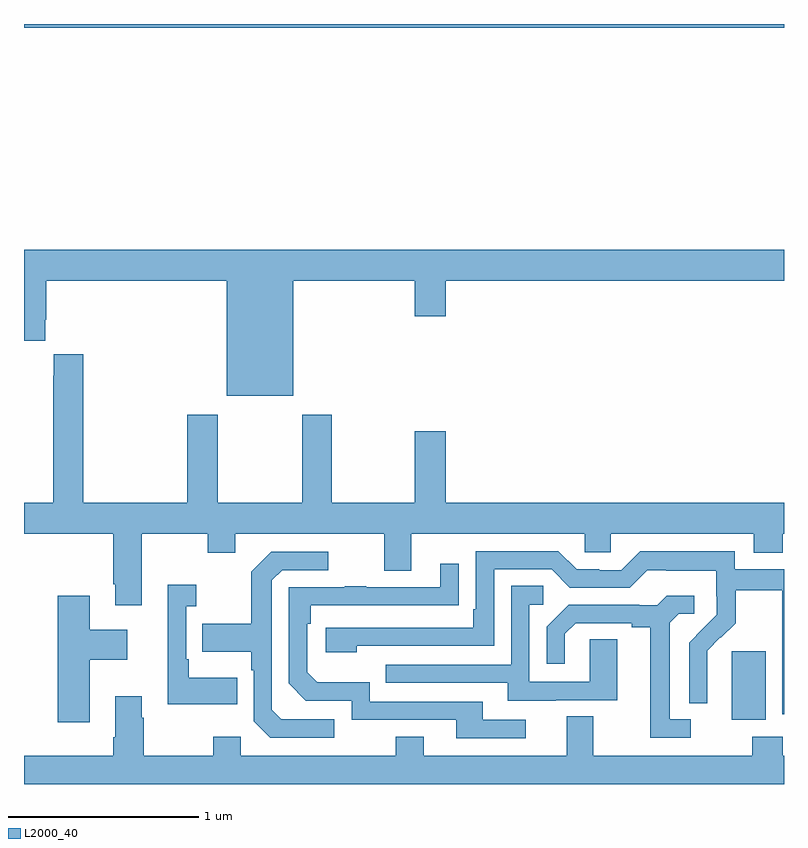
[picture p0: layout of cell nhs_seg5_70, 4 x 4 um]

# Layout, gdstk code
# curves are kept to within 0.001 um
import gdstk
lib = gdstk.Library(unit=1e-6, precision=1e-09)
def R(c, l, rs):  # rectangles x0, y0, x1, y1
    for r in rs: c.add(gdstk.rectangle(r[:2], r[2:], *l))
def P(c, l, *ps):  # polygons
    for p in ps: c.add(gdstk.Polygon(p, *l))
L2000_40 = (2000, 40)

nhs_seg5_70 = lib.new_cell('nhs_seg5_70')
R(nhs_seg5_70, L2000_40, [(118.724,833.138,118.903,833.499), (115,836.78,119,836.799)])
P(nhs_seg5_70, L2000_40, [(116.416,835.448),(117.056,835.448),(117.056,835.26),(117.22,835.26),(117.22,835.448),(119,835.448),(119,835.612),(115,835.612),(115,835.131),(115.111,835.131),(115.111,835.243),(115.118,835.243),(115.118,835.448),(116.066,835.448),(116.066,834.842),(116.416,834.842)],
  [(115.621,834.116),(115.966,834.116),(115.966,834.017),(116.113,834.017),(116.113,834.116),(116.897,834.116),(116.897,833.922),(117.037,833.922),(117.037,834.116),(117.951,834.116),(117.951,834.018),(118.089,834.018),(118.089,834.116),(118.841,834.116),(118.841,834.017),(118.994,834.017),(118.994,834.116),(119,834.116),(119,834.28),(117.22,834.28),(117.22,834.655),(117.056,834.655),(117.056,834.28),(116.619,834.28),(116.619,834.742),(116.464,834.742),(116.464,834.28),(116.019,834.28),(116.019,834.742),(115.859,834.742),(115.859,834.28),(115.313,834.28),(115.313,835.06),(115.157,835.06),(115.157,834.947),(115.153,834.947),(115.153,834.28),(115,834.28),(115,834.116),(115.469,834.116),(115.469,833.851),(115.481,833.851),(115.481,833.739),(115.621,833.739)],
  [(119,833.928),(118.74,833.928),(118.74,834.025),(118.243,834.025),(118.143,833.925),(118.028,833.925),(118.028,833.928),(117.909,833.928),(117.813,834.024),(117.378,834.024),(117.378,833.719),(117.365,833.719),(117.365,833.622),(116.589,833.622),(116.589,833.492),(116.75,833.492),(116.75,833.526),(117.474,833.526),(117.474,833.928),(117.777,833.928),(117.873,833.832),(118.188,833.832),(118.281,833.925),(118.381,833.925),(118.381,833.921),(118.644,833.921),(118.644,833.787),(118.646,833.787),(118.646,833.69),(118.5,833.542),(118.5,833.224),(118.596,833.224),(118.595,833.501),(118.665,833.571),(118.668,833.568),(118.745,833.645),(118.745,833.82),(118.99,833.82),(118.99,833.596),(118.992,833.596),(118.992,833.167),(119,833.167)],
  [(116.632,833.139),(116.355,833.139),(116.304,833.19),(116.304,833.871),(116.358,833.925),(116.602,833.925),(116.602,834.021),(116.301,834.021),(116.196,833.915),(116.196,833.643),(115.939,833.643),(115.939,833.495),(116.196,833.495),(116.196,833.399),(116.208,833.399),(116.208,833.13),(116.295,833.043),(116.632,833.043)],
  [(117.64,833.136),(117.415,833.136),(117.415,833.232),(116.82,833.232),(116.82,833.335),(116.543,833.335),(116.49,833.388),(116.49,833.642),(116.51,833.642),(116.51,833.739),(117.287,833.74),(117.287,833.959),(117.191,833.959),(117.191,833.835),(116.801,833.835),(116.801,833.84),(116.689,833.84),(116.689,833.835),(116.394,833.835),(116.394,833.328),(116.484,833.238),(116.724,833.238),(116.724,833.136),(117.275,833.136),(117.275,833.04),(117.64,833.04)],
  [(116.123,833.359),(115.867,833.359),(115.867,833.455),(115.854,833.455),(115.854,833.735),(115.906,833.735),(115.906,833.848),(115.757,833.848),(115.757,833.219),(116.123,833.219)],
  [(117.799,833.241),(118.123,833.241),(118.123,833.561),(117.978,833.561),(117.978,833.337),(117.66,833.337),(117.66,833.742),(117.733,833.742),(117.733,833.843),(117.564,833.843),(117.564,833.427),(116.905,833.427),(116.905,833.331),(117.545,833.331),(117.545,833.237),(117.799,833.237)],
  [(118.51,833.139),(118.399,833.139),(118.399,833.647),(118.446,833.694),(118.528,833.694),(118.528,833.791),(118.384,833.791),(118.332,833.739),(118.238,833.739),(118.238,833.742),(117.866,833.742),(117.75,833.626),(117.75,833.433),(117.847,833.433),(117.847,833.589),(117.904,833.646),(118.199,833.646),(118.199,833.624),(118.295,833.624),(118.295,833.043),(118.51,833.043)],
  [(115.345,833.453),(115.543,833.453),(115.543,833.611),(115.345,833.611),(115.345,833.791),(115.178,833.791),(115.178,833.124),(115.345,833.124)],
  [(119,832.948),(118.994,832.948),(118.994,833.047),(118.834,833.047),(118.834,832.948),(117.997,832.948),(117.997,833.156),(117.857,833.156),(117.857,832.948),(117.103,832.948),(117.103,833.047),(116.956,833.047),(116.956,832.948),(116.142,832.948),(116.142,833.047),(115.996,833.047),(115.996,832.948),(115.629,832.948),(115.629,833.147),(115.621,833.147),(115.621,833.26),(115.481,833.26),(115.481,833.044),(115.469,833.044),(115.469,832.948),(115,832.948),(115,832.799),(119,832.799)])

lib.write_gds('nhs_seg5_70.gds')
